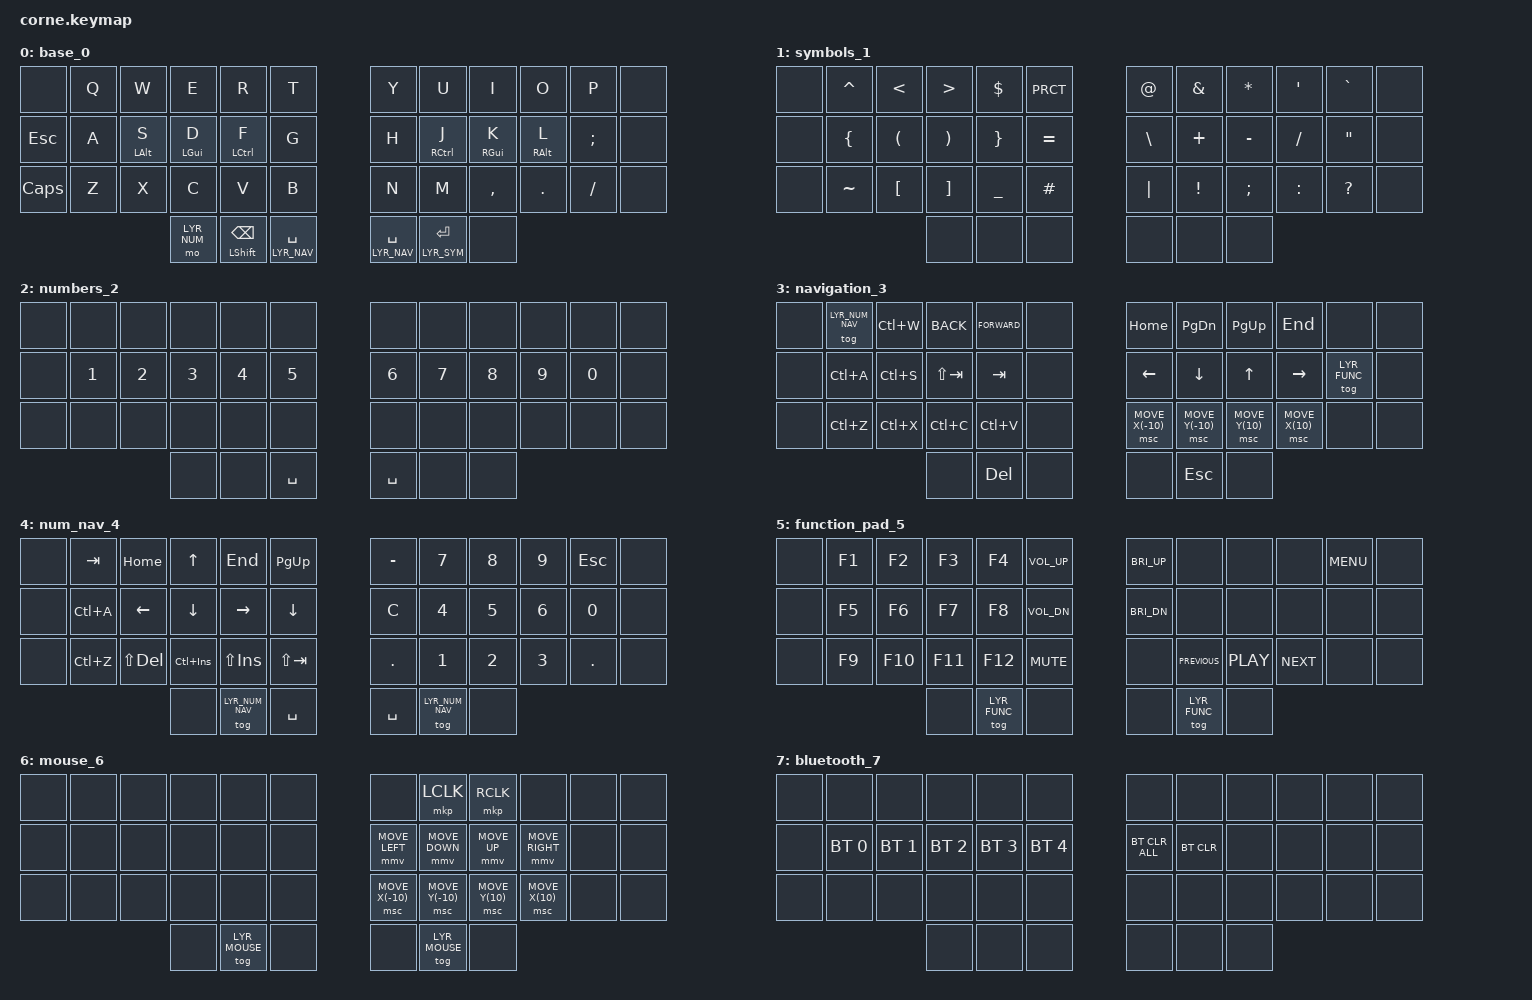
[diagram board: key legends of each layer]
#define ZMK_POINTING_DEFAULT_MOVE_VAL 600 // default: 600
#define ZMK_POINTING_DEFAULT_SCRL_VAL 10  // default: 10

#include <behaviors.dtsi>
#include <dt-bindings/zmk/bt.h>
#include <dt-bindings/zmk/keys.h>
#include <dt-bindings/zmk/pointing.h>

#define LYR_BASE 0
#define LYR_SYM 1
#define LYR_NUM 2
#define LYR_NAV 3
#define LYR_NUM_NAV 4
#define LYR_FUNC 5
#define LYR_MOUSE 6
#define LYR_BT 7

/ {
    behaviors {
        hml: hml {
            compatible = "zmk,behavior-hold-tap";
            flavor = "balanced";
            tapping-term-ms = <200>;
            quick-tap-ms = <175>;
            #binding-cells = <2>;
            bindings = <&kp>, <&kp>;
            // keys on the right
            hold-trigger-key-positions = <
                 6  7  8  9 10 11
                18 19 20 21 22 23
                30 31 32 33 34 35
            >;
            require-prior-idle-ms = <150>;
            hold-trigger-on-release;
        };

        hmr: hmr {
            compatible = "zmk,behavior-hold-tap";
            flavor = "balanced";
            tapping-term-ms = <200>;
            quick-tap-ms = <175>;
            #binding-cells = <2>;
            bindings = <&kp>, <&kp>;
            // keys on the left
            hold-trigger-key-positions = <
                 0  1  2  3  4  5
                12 13 14 15 16 17
                24 25 26 27 28 29
            >;
            require-prior-idle-ms = <150>;
            hold-trigger-on-release;
        };
    };

    combos {
        compatible = "zmk,combos";

        mouse {
            bindings = <&tog LYR_MOUSE>;
            key-positions = <23 12>;
        };

        bluetooth {
            bindings = <&mo LYR_BT>;
            key-positions = <24 35>;
        };
    };

    keymap {
        compatible = "zmk,keymap";

// CAPS is useful on apple devices, e.g. on iphone it can be rebinded as the "globe key"
        base_0 {
            bindings = <
&none    &kp Q &kp W       &kp E       &kp R          &kp T             /*|*/ &kp Y             &kp U             &kp I       &kp O       &kp P     &none
&kp ESC  &kp A &hml LALT S &hml LGUI D &hml LCTRL F   &kp G             /*|*/ &kp H             &hmr RCTRL J      &hmr RGUI K &hmr RALT L &kp SEMI  &none
&kp CAPS &kp Z &kp X       &kp C       &kp V          &kp B             /*|*/ &kp N             &kp M             &kp COMMA   &kp DOT     &kp SLASH &none
                           &mo LYR_NUM &mt LSHFT BSPC &lt LYR_NAV SPACE /*|*/ &lt LYR_NAV SPACE &lt LYR_SYM ENTER &none
            >;
        };

        symbols_1 {
            bindings = <
&none &kp CARET &kp LT   &kp GT   &kp DOLLAR &kp PRCT  /*|*/ &kp AT   &kp AMPS &kp STAR  &kp SQT   &kp GRAVE &none
&none &kp LBRC  &kp LPAR &kp RPAR &kp RBRC   &kp EQUAL /*|*/ &kp BSLH &kp PLUS &kp MINUS &kp SLASH &kp DQT   &none
&none &kp TILDE &kp LBKT &kp RBKT &kp UNDER  &kp HASH  /*|*/ &kp PIPE &kp EXCL &kp SEMI  &kp COLON &kp QMARK &none
                         &none    &none      &none     /*|*/ &none    &none    &none
            >;
        };

        numbers_2 {
            bindings = <
&none &none  &none  &none  &none  &none     /*|*/ &none     &none  &none  &none  &none  &none
&none &kp N1 &kp N2 &kp N3 &kp N4 &kp N5    /*|*/ &kp N6    &kp N7 &kp N8 &kp N9 &kp N0 &none
&none &none  &none  &none  &none  &none     /*|*/ &none     &none  &none  &none  &none  &none
                    &none  &none  &kp SPACE /*|*/ &kp SPACE &none  &none
            >;
        };

        navigation_3 {
            bindings = <
&none &tog LYR_NUM_NAV &kp LC(W) &kp K_BACK  &kp K_FORWARD &none /*|*/ &kp HOME         &kp PAGE_DOWN    &kp PAGE_UP     &kp END         &none         &none
&none &kp LC(A)        &kp LC(S) &kp LS(TAB) &kp TAB       &none /*|*/ &kp LEFT         &kp DOWN         &kp UP          &kp RIGHT       &tog LYR_FUNC &none
&none &kp LC(Z)        &kp LC(X) &kp LC(C)   &kp LC(V)     &none /*|*/ &msc MOVE_X(-10) &msc MOVE_Y(-10) &msc MOVE_Y(10) &msc MOVE_X(10) &none         &none
                                 &none       &kp DEL       &none /*|*/ &none            &kp ESC          &none
            >;
        };

        // toggled
        num_nav_4 {
            bindings = <
&none &kp TAB   &kp HOME       &kp UP_ARROW &kp END          &kp PAGE_UP /*|*/ &kp MINUS &kp N7           &kp N8 &kp N9 &kp ESC &none
&none &kp LC(A) &kp LEFT       &kp DOWN     &kp RIGHT        &kp DOWN    /*|*/ &kp C     &kp N4           &kp N5 &kp N6 &kp N0  &none
&none &kp LC(Z) &kp LS(DELETE) &kp LC(INS)  &kp LS(INS)      &kp LS(TAB) /*|*/ &kp DOT   &kp N1           &kp N2 &kp N3 &kp DOT &none
                               &none        &tog LYR_NUM_NAV &kp SPACE   /*|*/ &kp SPACE &tog LYR_NUM_NAV &none
            >;
        };

        // toggled
        function_pad_5 {
            bindings = <
&none &kp F1 &kp F2  &kp F3  &kp F4        &kp C_VOL_UP /*|*/ &kp C_BRI_UP &none          &none      &none      &kp K_MENU &none
&none &kp F5 &kp F6  &kp F7  &kp F8        &kp C_VOL_DN /*|*/ &kp C_BRI_DN &none          &none      &none      &none      &none
&none &kp F9 &kp F10 &kp F11 &kp F12       &kp C_MUTE   /*|*/ &none        &kp C_PREVIOUS &kp C_PLAY &kp C_NEXT &none      &none
                     &none   &tog LYR_FUNC &none        /*|*/ &none        &tog LYR_FUNC  &none
            >;
        };

        // toggled
        mouse_6 {
            bindings = <
&none &none &none &none &none          &none /*|*/ &none            &mkp LCLK        &mkp RCLK       &none           &none &none
&none &none &none &none &none          &none /*|*/ &mmv MOVE_LEFT   &mmv MOVE_DOWN   &mmv MOVE_UP    &mmv MOVE_RIGHT &none &none
&none &none &none &none &none          &none /*|*/ &msc MOVE_X(-10) &msc MOVE_Y(-10) &msc MOVE_Y(10) &msc MOVE_X(10) &none &none
                  &none &tog LYR_MOUSE &none /*|*/ &none            &tog LYR_MOUSE   &none
            >;
        };

        bluetooth_7 {
            bindings = <
&none &none        &none        &none        &none        &none        /*|*/ &none          &none      &none &none &none &none
&none &bt BT_SEL 0 &bt BT_SEL 1 &bt BT_SEL 2 &bt BT_SEL 3 &bt BT_SEL 4 /*|*/ &bt BT_CLR_ALL &bt BT_CLR &none &none &none &none
&none &none        &none        &none        &none        &none        /*|*/ &none          &none      &none &none &none &none
                                &none        &none        &none        /*|*/ &none          &none      &none
            >;
        };
    };
};
